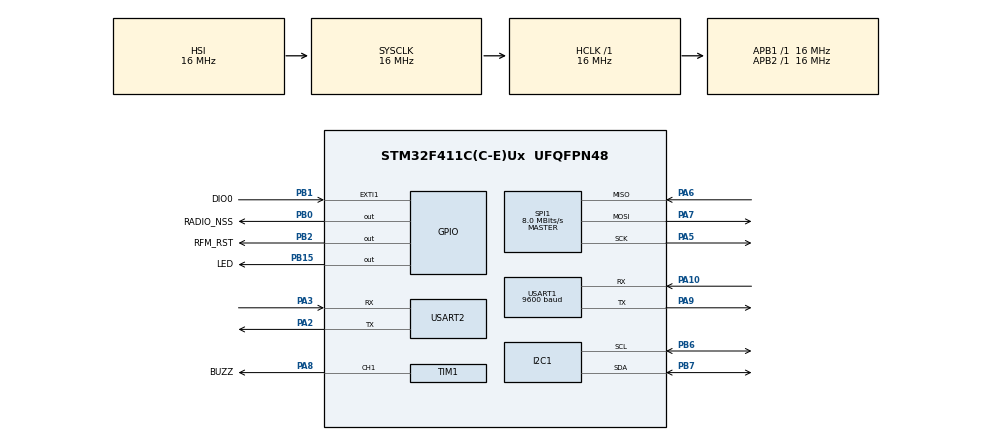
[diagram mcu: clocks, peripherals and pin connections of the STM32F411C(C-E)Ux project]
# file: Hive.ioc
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Mcu.Family=STM32F4
Mcu.Name=STM32F411C(C-E)Ux
Mcu.Package=UFQFPN48
NVIC.EXTI1_IRQn=true\:1\:0\:true\:false\:true\:true\:true\:true
NVIC.PriorityGroup=NVIC_PRIORITYGROUP_4
NVIC.USART1_IRQn=true\:0\:0\:false\:false\:true\:true\:true\:true
PA10.Mode=Asynchronous
PA10.Signal=USART1_RX
PA13.Mode=Serial_Wire
PA13.Signal=SYS_JTMS-SWDIO
PA14.Mode=Serial_Wire
PA14.Signal=SYS_JTCK-SWCLK
PA2.Mode=Asynchronous
PA2.Signal=USART2_TX
PA3.Mode=Asynchronous
PA3.Signal=USART2_RX
PA5.Mode=Full_Duplex_Master
PA5.Signal=SPI1_SCK
PA6.Mode=Full_Duplex_Master
PA6.Signal=SPI1_MISO
PA7.Mode=Full_Duplex_Master
PA7.Signal=SPI1_MOSI
PA8.GPIO_Label=BUZZ
PA8.Signal=S_TIM1_CH1
PA9.Mode=Asynchronous
PA9.Signal=USART1_TX
PB0.GPIO_Label=RADIO_NSS
PB0.GPIO_Speed=GPIO_SPEED_FREQ_VERY_HIGH
PB0.Signal=GPIO_Output
PB1.GPIO_Label=DIO0
PB1.Signal=GPXTI1
PB15.GPIO_Label=LED
PB15.Signal=GPIO_Output
PB2.GPIO_Label=RFM_RST
PB2.GPIO_Speed=GPIO_SPEED_FREQ_MEDIUM
PB2.Signal=GPIO_Output
PB6.Mode=I2C
PB6.Signal=I2C1_SCL
PB7.Mode=I2C
PB7.Signal=I2C1_SDA
ProjectManager.HeapSize=0x200
ProjectManager.StackSize=0x400
ProjectManager.TargetToolchain=STM32CubeIDE
RCC.AHBFreq_Value=16000000
RCC.APB1Freq_Value=16000000
RCC.APB2Freq_Value=16000000
RCC.CortexFreq_Value=16000000
RCC.HSE_VALUE=25000000
RCC.HSI_VALUE=16000000
RCC.LSE_VALUE=32768
RCC.SYSCLKFreq_VALUE=16000000
RCC.VCOOutputFreq_Value=192000000
SH.S_TIM1_CH1.0=TIM1_CH1,PWM Generation1 CH1
SPI1.CLKPhase=SPI_PHASE_1EDGE
SPI1.CLKPolarity=SPI_POLARITY_LOW
SPI1.CalculateBaudRate=8.0 MBits/s
SPI1.Direction=SPI_DIRECTION_2LINES
SPI1.Mode=SPI_MODE_MASTER
SPI1.VirtualType=VM_MASTER
TIM1.Channel-PWM\ Generation1\ CH1=TIM_CHANNEL_1
TIM1.Period=2
TIM1.Prescaler=5926
USART1.BaudRate=9600
USART1.VirtualMode=VM_ASYNC
USART2.VirtualMode=VM_ASYNC
VP_TIM1_VS_ClockSourceINT.Mode=Internal
board=custom

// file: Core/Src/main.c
/* USER CODE BEGIN Header */
/**
  ******************************************************************************
  * @file           : main.c
  * @brief          : Main program body
  ******************************************************************************
  * @attention
  *
  * Copyright (c) 2024 STMicroelectronics.
  * All rights reserved.
  *
  * This software is licensed under terms that can be found in the LICENSE file
  * in the root directory of this software component.
  * If no LICENSE file comes with this software, it is provided AS-IS.
  *
  ******************************************************************************
  */
/* USER CODE END Header */
#include "main.h"
#include "i2c.h"
#include "spi.h"
#include "tim.h"
#include "usart.h"
#include "gpio.h"

/* USER CODE BEGIN Includes */
#include <bme280.h>
#include <RF95.h>
#include <gps.h>
/* USER CODE END Includes */

/* USER CODE BEGIN PD */
#define ID 10
/* USER CODE END PD */

/* USER CODE BEGIN PV */
extern uint8_t LoRa_buff[RH_RF95_FIFO_SIZE];
/* USER CODE END PV */

void SystemClock_Config(void);

/* USER CODE BEGIN 0 */
void BuzzOn() {
	htim1.Instance->CCR1 = 1;
}

void BuzzOff() {
	htim1.Instance->CCR1 = 0;
}

void Error() {
	while (1) {
		HAL_Delay(250);
		HAL_GPIO_WritePin(LED_GPIO_Port, LED_Pin, GPIO_PIN_SET);
		BuzzOn();
		HAL_Delay(250);
		HAL_GPIO_WritePin(LED_GPIO_Port, LED_Pin, GPIO_PIN_RESET);
		BuzzOff();
	}
}

#pragma pack(1)
struct Data {
  uint8_t id;

  float humidity;
  float temp;
  float pressure;

  float gps_lat;
  float gps_long;
  float gps_alt;

  uint32_t time;

  char satcnt;
};

struct Data data;

void resetBME() {
	if (bme280_set_soft_rst() != 0) {
		Error();
	}

	HAL_Delay(10);
	if (bme280_set_power_mode(BME280_NORMAL_MODE) != 0) {
	  Error();
	}
	if (bme280_set_oversamp_humidity(BME280_OVERSAMP_1X) != 0) {
	  Error();
	}
	if (bme280_set_oversamp_pressure(BME280_OVERSAMP_1X) != 0) {
	  Error();
	}
	if (bme280_set_oversamp_temperature(BME280_OVERSAMP_1X) != 0) {
	  Error();
	}
	data.id = ID;
}

extern GPS_t GPS;
void ReadData() {
  //data.id = ID;
	data.id++;

  uint32_t pressure;
  int32_t temperature;
  uint32_t humidity;
  resetBME();
  if (bme280_read_pressure_temperature_humidity(&pressure, &temperature, &humidity) != 0) {
	  Error();
  }
  data.humidity = (float)humidity/1000.0f;
  data.temp = (float)temperature/100.0f;
  data.pressure = (float)pressure/100.0f;

  data.gps_lat = GPS.dec_latitude;
  data.gps_long = GPS.dec_longitude;
  data.gps_alt = GPS.msl_altitude;

  data.satcnt = GPS.satelites;
}

void WaitNoRxTx() {
	HAL_GPIO_WritePin(LED_GPIO_Port, LED_Pin, GPIO_PIN_SET);
	HAL_Delay(500);
	HAL_GPIO_WritePin(LED_GPIO_Port, LED_Pin, GPIO_PIN_RESET);
}

void WaitRx() {
	bool done = false;

	while (!done) {
		RF95_setModeRx_Continuous();
		HAL_Delay(400);
		if (RF95_Check_RxDone()) {
			RF95_setModeIdle();

			BuzzOn();
			HAL_GPIO_WritePin(LED_GPIO_Port, LED_Pin, GPIO_PIN_SET);
			HAL_Delay(100);
			BuzzOff();
			HAL_GPIO_WritePin(LED_GPIO_Port, LED_Pin, GPIO_PIN_RESET);
			continue;
		}
	    done = true;
	}

	RF95_setModeIdle();
}

void HAL_UART_RxCpltCallback(UART_HandleTypeDef *huart)
{
	if(huart == &huart1) {
		GPS_UART_CallBack();
	}
}

// ChatGPT
void structToHexString(const void *inputStruct, size_t size, char *hexString) {
    const unsigned char *bytePtr = (const unsigned char *)inputStruct;

    for (size_t i = 0; i < size; ++i) {
        sprintf(hexString + (i * 2), "%02X", bytePtr[i]);
    }

    // Null-terminate the string
    hexString[size * 2] = '\0';
}
/* USER CODE END 0 */

int main(void)
{

  /* MCU Configuration--------------------------------------------------------*/

  /* Reset of all peripherals, Initializes the Flash interface and the Systick. */
  HAL_Init();

  /* Configure the system clock */
  SystemClock_Config();

  /* Initialize all configured peripherals */
  MX_GPIO_Init();
  MX_I2C1_Init();
  MX_SPI1_Init();
  MX_TIM1_Init();
  MX_USART1_UART_Init();
  MX_USART2_UART_Init();
  /* USER CODE BEGIN 2 */

  // Buzz
  HAL_TIM_PWM_Start(&htim1, TIM_CHANNEL_1);

  // BME280
  I2C_routine();
  if (bme280_init(&bme280) != 0) {
      Error();
  }
  resetBME();

  // Radio
  RF95_setPreambleLength(8);
  RF95_setTxPower(20, false);
  if (!RF95_Init()) {
	  Error();
  }
  /*if (!RF95_setModemConfig(Bw31_25Cr48Sf512)) {
	  Error();
  }*/
  if (!RF95_setFrequency(868.0)) {
	  Error();
  }

  // GPS
  GPS_Init();
  char txinput[sizeof(data)*2 + 1];

  /* USER CODE END 2 */

  /* Infinite loop */
  while (1)
  {
    /* USER CODE BEGIN 3 */

	  WaitNoRxTx(); // Wait 500ms after sending
	  WaitRx(); // Wait 400ms until channel is clear

	  ReadData();
	  structToHexString((void*)&data, sizeof(data), &txinput[0]);
	  memcpy(&LoRa_buff, &txinput, sizeof(txinput));
	  RF95_send(LoRa_buff);

  }
  /* USER CODE END 3 */
}

void SystemClock_Config(void)
{
  RCC_OscInitTypeDef RCC_OscInitStruct = {0};
  RCC_ClkInitTypeDef RCC_ClkInitStruct = {0};

  /** Configure the main internal regulator output voltage
  */
  __HAL_RCC_PWR_CLK_ENABLE();
  __HAL_PWR_VOLTAGESCALING_CONFIG(PWR_REGULATOR_VOLTAGE_SCALE1);

  /** Initializes the RCC Oscillators according to the specified parameters
  * in the RCC_OscInitTypeDef structure.
  */
  RCC_OscInitStruct.OscillatorType = RCC_OSCILLATORTYPE_HSI;
  RCC_OscInitStruct.HSIState = RCC_HSI_ON;
  RCC_OscInitStruct.HSICalibrationValue = RCC_HSICALIBRATION_DEFAULT;
  RCC_OscInitStruct.PLL.PLLState = RCC_PLL_NONE;
  if (HAL_RCC_OscConfig(&RCC_OscInitStruct) != HAL_OK)
  {
    Error_Handler();
  }

  /** Initializes the CPU, AHB and APB buses clocks
  */
  RCC_ClkInitStruct.ClockType = RCC_CLOCKTYPE_HCLK|RCC_CLOCKTYPE_SYSCLK
                              |RCC_CLOCKTYPE_PCLK1|RCC_CLOCKTYPE_PCLK2;
  RCC_ClkInitStruct.SYSCLKSource = RCC_SYSCLKSOURCE_HSI;
  RCC_ClkInitStruct.AHBCLKDivider = RCC_SYSCLK_DIV1;
  RCC_ClkInitStruct.APB1CLKDivider = RCC_HCLK_DIV1;
  RCC_ClkInitStruct.APB2CLKDivider = RCC_HCLK_DIV1;

  if (HAL_RCC_ClockConfig(&RCC_ClkInitStruct, FLASH_LATENCY_0) != HAL_OK)
  {
    Error_Handler();
  }
}

void Error_Handler(void)
{
  __disable_irq();
  while (1)
  {
  }
}
